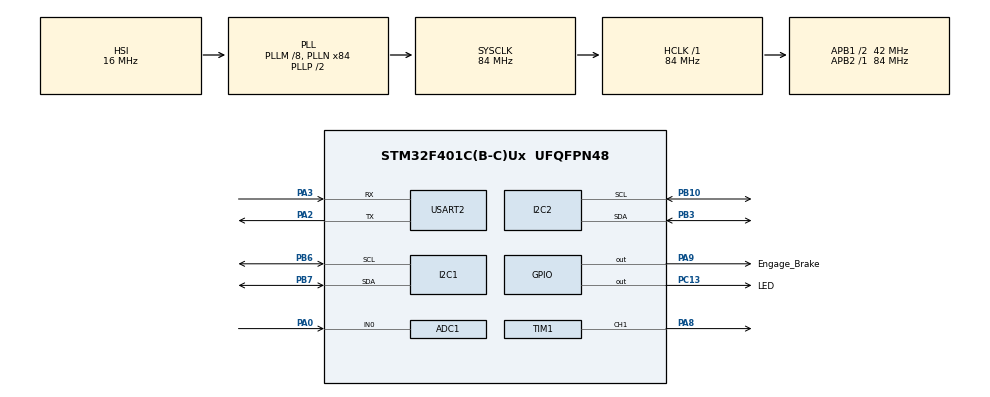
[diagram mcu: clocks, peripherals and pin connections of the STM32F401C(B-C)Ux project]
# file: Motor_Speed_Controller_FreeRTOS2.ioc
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ADC1.Channel-0\#ChannelRegularConversion=ADC_CHANNEL_0
ADC1.NbrOfConversionFlag=1
ADC1.Rank-0\#ChannelRegularConversion=1
ADC1.SamplingTime-0\#ChannelRegularConversion=ADC_SAMPLETIME_15CYCLES
ADC1.master=1
FREERTOS.INCLUDE_vTaskDelayUntil=1
FREERTOS.Tasks01=defaultTask,0,128,StartDefaultTask,Default,NULL,Dynamic,NULL,NULL;myTask02,2,128,StartTask02,Default,NULL,Dynamic,NULL,NULL;myTask03,1,128,StartTask03,Default,NULL,Dynamic,NULL,NULL;myTask04,0,128,StartTask04,Default,NULL,Dynamic,NULL,NULL
Mcu.Family=STM32F4
Mcu.Name=STM32F401C(B-C)Ux
Mcu.Package=UFQFPN48
NVIC.PriorityGroup=NVIC_PRIORITYGROUP_4
NVIC.TIM5_IRQn=true\:15\:0\:false\:false\:true\:false\:false\:true\:true
NVIC.TimeBase=TIM5_IRQn
NVIC.TimeBaseIP=TIM5
PA0-WKUP.Signal=ADCx_IN0
PA2.Mode=Asynchronous
PA2.Signal=USART2_TX
PA3.Mode=Asynchronous
PA3.Signal=USART2_RX
PA8.Signal=S_TIM1_CH1
PA9.GPIO_Label=Engage_Brake
PA9.Signal=GPIO_Output
PB10.Mode=I2C
PB10.Signal=I2C2_SCL
PB3.Mode=I2C
PB3.Signal=I2C2_SDA
PB6.Mode=I2C
PB6.Signal=I2C1_SCL
PB7.Mode=I2C
PB7.Signal=I2C1_SDA
PC13-ANTI_TAMP.GPIO_Label=LED
PC13-ANTI_TAMP.Signal=GPIO_Output
PH0\ -\ OSC_IN.Mode=HSE-External-Oscillator
PH0\ -\ OSC_IN.Signal=RCC_OSC_IN
PH1\ -\ OSC_OUT.Mode=HSE-External-Oscillator
PH1\ -\ OSC_OUT.Signal=RCC_OSC_OUT
ProjectManager.HeapSize=0x200
ProjectManager.StackSize=0x400
ProjectManager.TargetToolchain=STM32CubeIDE
RCC.48MHZClocksFreq_Value=42000000
RCC.AHBFreq_Value=84000000
RCC.APB1CLKDivider=RCC_HCLK_DIV2
RCC.APB1Freq_Value=42000000
RCC.APB1TimFreq_Value=84000000
RCC.APB2Freq_Value=84000000
RCC.APB2TimFreq_Value=84000000
RCC.CortexFreq_Value=84000000
RCC.HCLKFreq_Value=84000000
RCC.HSE_VALUE=25000000
RCC.HSI_VALUE=16000000
RCC.LSE_VALUE=32768
RCC.PLLM=8
RCC.PLLN=84
RCC.SYSCLKFreq_VALUE=84000000
RCC.SYSCLKSource=RCC_SYSCLKSOURCE_PLLCLK
RCC.VCOOutputFreq_Value=168000000
SH.ADCx_IN0.0=ADC1_IN0,IN0
SH.S_TIM1_CH1.0=TIM1_CH1,PWM Generation1 CH1
TIM1.Channel-PWM\ Generation1\ CH1=TIM_CHANNEL_1
TIM1.Period=100
TIM1.Prescaler=84-1
USART2.VirtualMode=VM_ASYNC
VP_FREERTOS_VS_CMSIS_V1.Mode=CMSIS_V1
VP_SYS_VS_tim5.Mode=TIM5
VP_TIM1_VS_ClockSourceINT.Mode=Internal
board=custom

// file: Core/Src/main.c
/* USER CODE BEGIN Header */
/**
  ******************************************************************************
  * @file           : main.c
  * @brief          : AMSC - Autonomous Motor Speed Controller Firmware
  ******************************************************************************
  * @author         : Rithvidas Rathish
  * @linkedin       : https://www.linkedin.com/in/rithvidas-rathish-embedded-firmware-developer/
  *
  * @project        : AMSC - Autonomous Motor Speed Controller
  * @description    :
  *    This project implements an embedded motor control system using STM32,
  *    FreeRTOS (preemptive scheduling), and various sensors.
  *
  *    - VL53L0X (I2C1): Obstacle detection using ToF distance sensor.
  *    - DHT20 (I2C2): Battery compartment temperature/humidity sensing.
  *    - Potentiometer (ADC): Throttle input control.
  *    - PWM (TIM1): Motor speed control based on throttle and safety limits.
  *    - GPIO: Brake control activation on obstacle detection.
  *
  *    Task Breakdown:
  *    - Task 1 (DefaultTask): Motor PWM control and obstacle logic.
  *    - Task 2: Obstacle distance measurement (VL53L0X).
  *    - Task 3: Temperature/humidity sensing (DHT20).
  *    - Task 4: Throttle read from potentiometer via ADC.
  *
  *    Safety Mechanism:
  *    - If obstacle is detected, motor stops and brake is applied.
  *    - If temperature > 45°C, PWM is limited to 50% to prevent overheating.
  *
  * @MCU             : STM32F4 Series
  * @Framework       : STM32Cube HAL + FreeRTOS
  *
  ******************************************************************************
  * @attention
  *
  * Copyright (c) 2025 STMicroelectronics.
  * All rights reserved.
  *
  * This software is licensed under terms that can be found in the LICENSE file
  * in the root directory of this software component.
  * If no LICENSE file comes with this software, it is provided AS-IS.
  *
  ******************************************************************************
  */
/* USER CODE END Header */
#include "main.h"
#include "cmsis_os.h"
#include <stdio.h>
#include <string.h>
#include <stdbool.h>
#include <stdlib.h>
#include "VL53L0X.h"

// Extern I2C handle from CubeMX or your own init
extern I2C_HandleTypeDef hi2c1;

/* USER CODE END Includes */
#define DHT20_ADDRESS 0x38 << 1 // 7-bit address shifted left for HAL
#define DHT20_RESP_LEN  7
#define DHT20_CMD_LEN   3

// DHT20 initialization command
#define DHT20_INIT_CMD 0x71

/* USER CODE BEGIN PTD */

#define TEMP_THRESHOLD_C 45   // Max safe battery temperature
#define MAX_SAFE_PWM_PERCENT 50 // Cap PWM if over temperature

/* USER CODE END PTD */
char buf[200];

volatile bool obstacle_detected = false;

uint16_t throttle_adc = 0;
uint8_t throttle_percent = 0;
uint8_t pwm_duty = 0;
float temperature=10;
float humidity=20;
char buf[200];
uint16_t distance;

ADC_HandleTypeDef hadc1;

I2C_HandleTypeDef hi2c1;
I2C_HandleTypeDef hi2c2;

TIM_HandleTypeDef htim1;

UART_HandleTypeDef huart2;

osThreadId defaultTaskHandle;
osThreadId myTask02Handle;
osThreadId myTask03Handle;
osThreadId myTask04Handle;

void SystemClock_Config(void);
static void MX_GPIO_Init(void);
static void MX_I2C1_Init(void);
static void MX_I2C2_Init(void);
static void MX_TIM1_Init(void);
static void MX_USART2_UART_Init(void);
static void MX_ADC1_Init(void);
static void DHT20_Init(void);
static void DHT20_ReadTemperature(float *temperature, float *humidity);
void StartDefaultTask(void const * argument);
void StartTask02(void const * argument);
void StartTask03(void const * argument);
void StartTask04(void const * argument);

void DHT20_Init(void) {
    uint8_t cmd = DHT20_INIT_CMD;
    HAL_I2C_Master_Transmit(&hi2c2, DHT20_ADDRESS, &cmd, 1, HAL_MAX_DELAY);
}

void DHT20_ReadTemperature(float *temperature, float *humidity) {
	uint8_t cmd[DHT20_CMD_LEN] = {0xAC, 0x33, 0x00};  // Command to start measurement
	uint8_t response[DHT20_RESP_LEN];

    // Send command to read data
    HAL_I2C_Master_Transmit(&hi2c2, DHT20_ADDRESS, cmd, DHT20_CMD_LEN, HAL_MAX_DELAY);
    osDelay(100);
    // Receive data from sensor
    HAL_I2C_Master_Receive(&hi2c2, DHT20_ADDRESS, response, DHT20_RESP_LEN, HAL_MAX_DELAY);

    // Calculate temperature
    uint32_t raw_humidity = ((response[1] << 12) | (response[2] << 4) | (response[3] >> 4));
    uint32_t raw_temperature = ((response[3] & 0x0F) << 16) | (response[4] << 8) | response[5];
    *humidity = (raw_humidity * 100) / 1048576;  // Convert to percentage
    *temperature = ((raw_temperature * 200) / 1048576) - 50;  // Convert to Celsius

}

int main(void)
{

  /* MCU Configuration--------------------------------------------------------*/

  /* Reset of all peripherals, Initializes the Flash interface and the Systick. */
  HAL_Init();

  /* Configure the system clock */
  SystemClock_Config();

  /* Initialize all configured peripherals */
  MX_GPIO_Init();
  MX_I2C1_Init();
  MX_I2C2_Init();
  MX_TIM1_Init();
  MX_USART2_UART_Init();
  MX_ADC1_Init();
  DHT20_Init();
  HAL_ADC_Start(&hadc1);
  HAL_ADC_PollForConversion(&hadc1,20);
  HAL_TIM_PWM_Start(&htim1,TIM_CHANNEL_1);
  HAL_Delay(100);
  if (!init(true)) {

            while (1);
        }

  /* Create the thread(s) */
  /* definition and creation of defaultTask */
  osThreadDef(defaultTask, StartDefaultTask, osPriorityNormal, 0, 128);
  defaultTaskHandle = osThreadCreate(osThread(defaultTask), NULL);

  /* definition and creation of myTask02 */
  osThreadDef(myTask02, StartTask02, osPriorityHigh, 0, 256);
  myTask02Handle = osThreadCreate(osThread(myTask02), NULL);

  /* definition and creation of myTask03 */
  osThreadDef(myTask03, StartTask03, osPriorityAboveNormal, 0, 256);
  myTask03Handle = osThreadCreate(osThread(myTask03), NULL);

  /* definition and creation of myTask04 */
  osThreadDef(myTask04, StartTask04, osPriorityNormal, 0, 128);
  myTask04Handle = osThreadCreate(osThread(myTask04), NULL);

  /* Start scheduler */
  osKernelStart();

  /* We should never get here as control is now taken by the scheduler */

  /* Infinite loop */
  while (1)
  {

  }
}

void SystemClock_Config(void)
{
  RCC_OscInitTypeDef RCC_OscInitStruct = {0};
  RCC_ClkInitTypeDef RCC_ClkInitStruct = {0};

  /** Configure the main internal regulator output voltage
  */
  __HAL_RCC_PWR_CLK_ENABLE();
  __HAL_PWR_VOLTAGESCALING_CONFIG(PWR_REGULATOR_VOLTAGE_SCALE2);

  /** Initializes the RCC Oscillators according to the specified parameters
  * in the RCC_OscInitTypeDef structure.
  */
  RCC_OscInitStruct.OscillatorType = RCC_OSCILLATORTYPE_HSI;
  RCC_OscInitStruct.HSIState = RCC_HSI_ON;
  RCC_OscInitStruct.HSICalibrationValue = RCC_HSICALIBRATION_DEFAULT;
  RCC_OscInitStruct.PLL.PLLState = RCC_PLL_ON;
  RCC_OscInitStruct.PLL.PLLSource = RCC_PLLSOURCE_HSI;
  RCC_OscInitStruct.PLL.PLLM = 8;
  RCC_OscInitStruct.PLL.PLLN = 84;
  RCC_OscInitStruct.PLL.PLLP = RCC_PLLP_DIV2;
  RCC_OscInitStruct.PLL.PLLQ = 4;
  if (HAL_RCC_OscConfig(&RCC_OscInitStruct) != HAL_OK)
  {
    Error_Handler();
  }

  /** Initializes the CPU, AHB and APB buses clocks
  */
  RCC_ClkInitStruct.ClockType = RCC_CLOCKTYPE_HCLK|RCC_CLOCKTYPE_SYSCLK
                              |RCC_CLOCKTYPE_PCLK1|RCC_CLOCKTYPE_PCLK2;
  RCC_ClkInitStruct.SYSCLKSource = RCC_SYSCLKSOURCE_PLLCLK;
  RCC_ClkInitStruct.AHBCLKDivider = RCC_SYSCLK_DIV1;
  RCC_ClkInitStruct.APB1CLKDivider = RCC_HCLK_DIV2;
  RCC_ClkInitStruct.APB2CLKDivider = RCC_HCLK_DIV1;

  if (HAL_RCC_ClockConfig(&RCC_ClkInitStruct, FLASH_LATENCY_2) != HAL_OK)
  {
    Error_Handler();
  }
}

static void MX_ADC1_Init(void)
{

  ADC_ChannelConfTypeDef sConfig = {0};

  /** Configure the global features of the ADC (Clock, Resolution, Data Alignment and number of conversion)
  */
  hadc1.Instance = ADC1;
  hadc1.Init.ClockPrescaler = ADC_CLOCK_SYNC_PCLK_DIV4;
  hadc1.Init.Resolution = ADC_RESOLUTION_12B;
  hadc1.Init.ScanConvMode = DISABLE;
  hadc1.Init.ContinuousConvMode = DISABLE;
  hadc1.Init.DiscontinuousConvMode = DISABLE;
  hadc1.Init.ExternalTrigConvEdge = ADC_EXTERNALTRIGCONVEDGE_NONE;
  hadc1.Init.ExternalTrigConv = ADC_SOFTWARE_START;
  hadc1.Init.DataAlign = ADC_DATAALIGN_RIGHT;
  hadc1.Init.NbrOfConversion = 1;
  hadc1.Init.DMAContinuousRequests = DISABLE;
  hadc1.Init.EOCSelection = ADC_EOC_SINGLE_CONV;
  if (HAL_ADC_Init(&hadc1) != HAL_OK)
  {
    Error_Handler();
  }

  /** Configure for the selected ADC regular channel its corresponding rank in the sequencer and its sample time.
  */
  sConfig.Channel = ADC_CHANNEL_0;
  sConfig.Rank = 1;
  sConfig.SamplingTime = ADC_SAMPLETIME_15CYCLES;
  if (HAL_ADC_ConfigChannel(&hadc1, &sConfig) != HAL_OK)
  {
    Error_Handler();
  }

}

static void MX_I2C1_Init(void)
{

  hi2c1.Instance = I2C1;
  hi2c1.Init.ClockSpeed = 100000;
  hi2c1.Init.DutyCycle = I2C_DUTYCYCLE_2;
  hi2c1.Init.OwnAddress1 = 0;
  hi2c1.Init.AddressingMode = I2C_ADDRESSINGMODE_7BIT;
  hi2c1.Init.DualAddressMode = I2C_DUALADDRESS_DISABLE;
  hi2c1.Init.OwnAddress2 = 0;
  hi2c1.Init.GeneralCallMode = I2C_GENERALCALL_DISABLE;
  hi2c1.Init.NoStretchMode = I2C_NOSTRETCH_DISABLE;
  if (HAL_I2C_Init(&hi2c1) != HAL_OK)
  {
    Error_Handler();
  }

}

static void MX_I2C2_Init(void)
{

  hi2c2.Instance = I2C2;
  hi2c2.Init.ClockSpeed = 100000;
  hi2c2.Init.DutyCycle = I2C_DUTYCYCLE_2;
  hi2c2.Init.OwnAddress1 = 0;
  hi2c2.Init.AddressingMode = I2C_ADDRESSINGMODE_7BIT;
  hi2c2.Init.DualAddressMode = I2C_DUALADDRESS_DISABLE;
  hi2c2.Init.OwnAddress2 = 0;
  hi2c2.Init.GeneralCallMode = I2C_GENERALCALL_DISABLE;
  hi2c2.Init.NoStretchMode = I2C_NOSTRETCH_DISABLE;
  if (HAL_I2C_Init(&hi2c2) != HAL_OK)
  {
    Error_Handler();
  }

}

static void MX_TIM1_Init(void)
{

  TIM_ClockConfigTypeDef sClockSourceConfig = {0};
  TIM_MasterConfigTypeDef sMasterConfig = {0};
  TIM_OC_InitTypeDef sConfigOC = {0};
  TIM_BreakDeadTimeConfigTypeDef sBreakDeadTimeConfig = {0};

  htim1.Instance = TIM1;
  htim1.Init.Prescaler = 84-1;
  htim1.Init.CounterMode = TIM_COUNTERMODE_UP;
  htim1.Init.Period = 100;
  htim1.Init.ClockDivision = TIM_CLOCKDIVISION_DIV1;
  htim1.Init.RepetitionCounter = 0;
  htim1.Init.AutoReloadPreload = TIM_AUTORELOAD_PRELOAD_DISABLE;
  if (HAL_TIM_Base_Init(&htim1) != HAL_OK)
  {
    Error_Handler();
  }
  sClockSourceConfig.ClockSource = TIM_CLOCKSOURCE_INTERNAL;
  if (HAL_TIM_ConfigClockSource(&htim1, &sClockSourceConfig) != HAL_OK)
  {
    Error_Handler();
  }
  if (HAL_TIM_PWM_Init(&htim1) != HAL_OK)
  {
    Error_Handler();
  }
  sMasterConfig.MasterOutputTrigger = TIM_TRGO_RESET;
  sMasterConfig.MasterSlaveMode = TIM_MASTERSLAVEMODE_DISABLE;
  if (HAL_TIMEx_MasterConfigSynchronization(&htim1, &sMasterConfig) != HAL_OK)
  {
    Error_Handler();
  }
  sConfigOC.OCMode = TIM_OCMODE_PWM1;
  sConfigOC.Pulse = 0;
  sConfigOC.OCPolarity = TIM_OCPOLARITY_HIGH;
  sConfigOC.OCNPolarity = TIM_OCNPOLARITY_HIGH;
  sConfigOC.OCFastMode = TIM_OCFAST_DISABLE;
  sConfigOC.OCIdleState = TIM_OCIDLESTATE_RESET;
  sConfigOC.OCNIdleState = TIM_OCNIDLESTATE_RESET;
  if (HAL_TIM_PWM_ConfigChannel(&htim1, &sConfigOC, TIM_CHANNEL_1) != HAL_OK)
  {
    Error_Handler();
  }
  sBreakDeadTimeConfig.OffStateRunMode = TIM_OSSR_DISABLE;
  sBreakDeadTimeConfig.OffStateIDLEMode = TIM_OSSI_DISABLE;
  sBreakDeadTimeConfig.LockLevel = TIM_LOCKLEVEL_OFF;
  sBreakDeadTimeConfig.DeadTime = 0;
  sBreakDeadTimeConfig.BreakState = TIM_BREAK_DISABLE;
  sBreakDeadTimeConfig.BreakPolarity = TIM_BREAKPOLARITY_HIGH;
  sBreakDeadTimeConfig.AutomaticOutput = TIM_AUTOMATICOUTPUT_DISABLE;
  if (HAL_TIMEx_ConfigBreakDeadTime(&htim1, &sBreakDeadTimeConfig) != HAL_OK)
  {
    Error_Handler();
  }
  HAL_TIM_MspPostInit(&htim1);

}

static void MX_USART2_UART_Init(void)
{

  huart2.Instance = USART2;
  huart2.Init.BaudRate = 115200;
  huart2.Init.WordLength = UART_WORDLENGTH_8B;
  huart2.Init.StopBits = UART_STOPBITS_1;
  huart2.Init.Parity = UART_PARITY_NONE;
  huart2.Init.Mode = UART_MODE_TX_RX;
  huart2.Init.HwFlowCtl = UART_HWCONTROL_NONE;
  huart2.Init.OverSampling = UART_OVERSAMPLING_16;
  if (HAL_UART_Init(&huart2) != HAL_OK)
  {
    Error_Handler();
  }

}

static void MX_GPIO_Init(void)
{
  GPIO_InitTypeDef GPIO_InitStruct = {0};

  /* GPIO Ports Clock Enable */
  __HAL_RCC_GPIOC_CLK_ENABLE();
  __HAL_RCC_GPIOH_CLK_ENABLE();
  __HAL_RCC_GPIOA_CLK_ENABLE();
  __HAL_RCC_GPIOB_CLK_ENABLE();

  /*Configure GPIO pin Output Level */
  HAL_GPIO_WritePin(LED_GPIO_Port, LED_Pin, GPIO_PIN_RESET);

  /*Configure GPIO pin Output Level */
  HAL_GPIO_WritePin(Engage_Brake_GPIO_Port, Engage_Brake_Pin, GPIO_PIN_RESET);

  /*Configure GPIO pin : LED_Pin */
  GPIO_InitStruct.Pin = LED_Pin;
  GPIO_InitStruct.Mode = GPIO_MODE_OUTPUT_PP;
  GPIO_InitStruct.Pull = GPIO_NOPULL;
  GPIO_InitStruct.Speed = GPIO_SPEED_FREQ_LOW;
  HAL_GPIO_Init(LED_GPIO_Port, &GPIO_InitStruct);

  /*Configure GPIO pin : Engage_Brake_Pin */
  GPIO_InitStruct.Pin = Engage_Brake_Pin;
  GPIO_InitStruct.Mode = GPIO_MODE_OUTPUT_PP;
  GPIO_InitStruct.Pull = GPIO_NOPULL;
  GPIO_InitStruct.Speed = GPIO_SPEED_FREQ_LOW;
  HAL_GPIO_Init(Engage_Brake_GPIO_Port, &GPIO_InitStruct);

}

void StartDefaultTask(void const * argument)
{
  /* USER CODE BEGIN 5 */
  /* Infinite loop */
  for(;;)
  {
	  if (obstacle_detected) {
	      TIM1->CCR1 = 0;
	      HAL_GPIO_WritePin(Engage_Brake_GPIO_Port, Engage_Brake_Pin, GPIO_PIN_SET);

	  }
	  else {
	  if (temperature > TEMP_THRESHOLD_C)
	 	     {
		    pwm_duty = (throttle_percent > MAX_SAFE_PWM_PERCENT) ? MAX_SAFE_PWM_PERCENT : throttle_percent;
		    }
		    else
		    {
		        pwm_duty = throttle_percent;
	 	     }

	 	     TIM1->CCR1 = pwm_duty; // Apply PWM value
	 	     osDelay(100);
  }
  }
  /* USER CODE END 5 */
}

void StartTask02(void const * argument)
{
  /* USER CODE BEGIN StartTask02 */
  /* Infinite loop */
  for(;;)
  {
	   distance = readRangeSingleMillimeters();

	  	        if (timeoutOccurred()) {
	               	  snprintf(buf, sizeof(buf), "Timeout");
	  		      	  HAL_UART_Transmit(&huart2, (uint8_t*)buf, strlen(buf), HAL_MAX_DELAY);
	  	        } else {

	  	      	  snprintf(buf, sizeof(buf), "Distance: %d mm\r\n", distance);
	  	      	  HAL_UART_Transmit(&huart2, (uint8_t*)buf, strlen(buf), HAL_MAX_DELAY);
	  	        }
	  	        obstacle_detected = (distance < 100);
	  	        osDelay(200);

  }
  /* USER CODE END StartTask02 */
}

void StartTask03(void const * argument)
{
  /* USER CODE BEGIN StartTask03 */
  /* Infinite loop */
  for(;;)
  {
	      DHT20_ReadTemperature(&temperature, &humidity);

	 	  snprintf(buf, sizeof(buf), "Temperature: %.2f C, Humidity: %d%%\r\n", temperature, throttle_percent);
	 	  HAL_UART_Transmit(&huart2, (uint8_t*)buf, strlen(buf), HAL_MAX_DELAY);

	      osDelay(1000);
  }
  /* USER CODE END StartTask03 */
}

void StartTask04(void const * argument)
{
  /* USER CODE BEGIN StartTask04 */
  /* Infinite loop */
  for(;;)
  {
	     HAL_ADC_Start(&hadc1);
	 	 HAL_ADC_PollForConversion(&hadc1,20);
	 	throttle_adc = HAL_ADC_GetValue(&hadc1);
	 	throttle_percent = (throttle_adc * 100) / 4095;
	     osDelay(200);
  }
  /* USER CODE END StartTask04 */
}

void HAL_TIM_PeriodElapsedCallback(TIM_HandleTypeDef *htim)
{
  if (htim->Instance == TIM5)
  {
    HAL_IncTick();
  }
}

void Error_Handler(void)
{
  __disable_irq();
  while (1)
  {
  }
}
